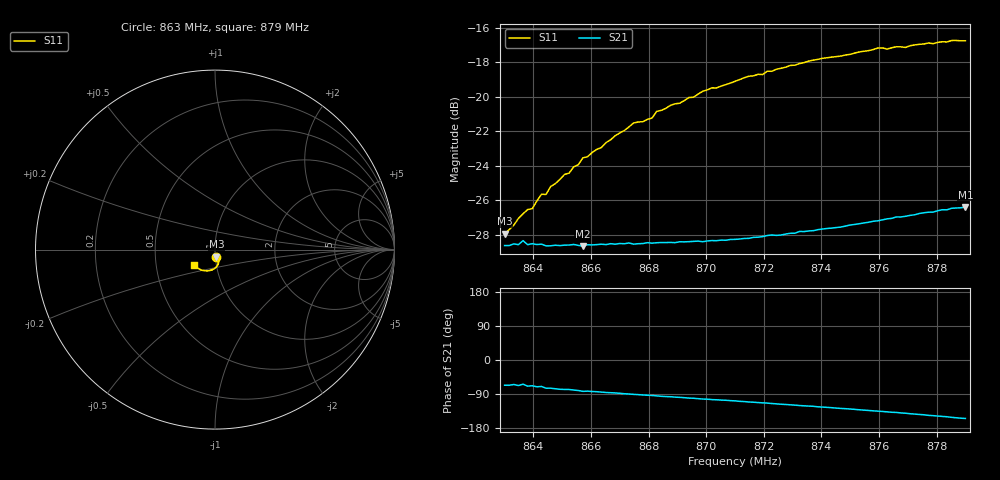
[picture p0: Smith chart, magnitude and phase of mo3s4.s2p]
# HZ S RI R 50
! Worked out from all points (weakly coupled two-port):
!   101 points, 863 MHz to 879 MHz, reference 50 ohm
!   highest |S21| = -26.40 dB at 879 MHz (marker M1); lowest = -28.7 dB at 865.72 MHz (marker M2)
!   lowest |S11| = -27.9 dB at 863 MHz (marker M3), VSWR 1.08, Z = 50.6 - j3.98 ohm
!   |S11| at or under -10 dB: start of sweep to end of sweep
!   S12 and S22 are empty: the file has one direction only
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8.63e8  0.00797 -0.0392  0.0147 -0.034  0 0  0 0
8.6348e8  0.0146 -0.0419  0.0143 -0.0344  0 0  0 0
8.6364e8  0.0212 -0.0405  0.0169 -0.0343  0 0  0 0
8.638e8  0.0158 -0.0443  0.0133 -0.0348  0 0  0 0
8.6396e8  0.0211 -0.0424  0.0141 -0.0347  0 0  0 0
8.6428e8  0.0227 -0.0469  0.0129 -0.0351  0 0  0 0
8.6444e8  0.017 -0.0492  0.00991 -0.0356  0 0  0 0
8.646e8  0.0194 -0.0514  0.00996 -0.0356  0 0  0 0
8.6508e8  0.0198 -0.0561  0.0079 -0.0363  0 0  0 0
8.6524e8  0.021 -0.0562  0.00785 -0.0363  0 0  0 0
8.6572e8  0.0201 -0.0634  0.00466 -0.0366  0 0  0 0
8.6636e8  0.0194 -0.0685  0.00348 -0.0372  0 0  0 0
8.6748e8  0.0179 -0.082  -0.00045 -0.0374  0 0  0 0
8.6812e8  0.014 -0.0855  -0.00234 -0.0375  0 0  0 0
8.6828e8  0.0141 -0.0895  -0.00307 -0.0376  0 0  0 0
8.6844e8  0.0128 -0.0904  -0.0038 -0.0376  0 0  0 0
8.6988e8  0.00109 -0.1037  -0.00855 -0.037  0 0  0 0
8.71e8  -0.0113 -0.1102  -0.0118 -0.0367  0 0  0 0
8.7372e8  -0.0452 -0.1194  -0.0218 -0.0346  0 0  0 0
8.7596e8  -0.0789 -0.1137  -0.0308 -0.0309  0 0  0 0
8.7644e8  -0.0854 -0.1091  -0.0329 -0.0297  0 0  0 0
8.79e8  -0.1164 -0.0868  -0.0431 -0.0208  0 0  0 0
